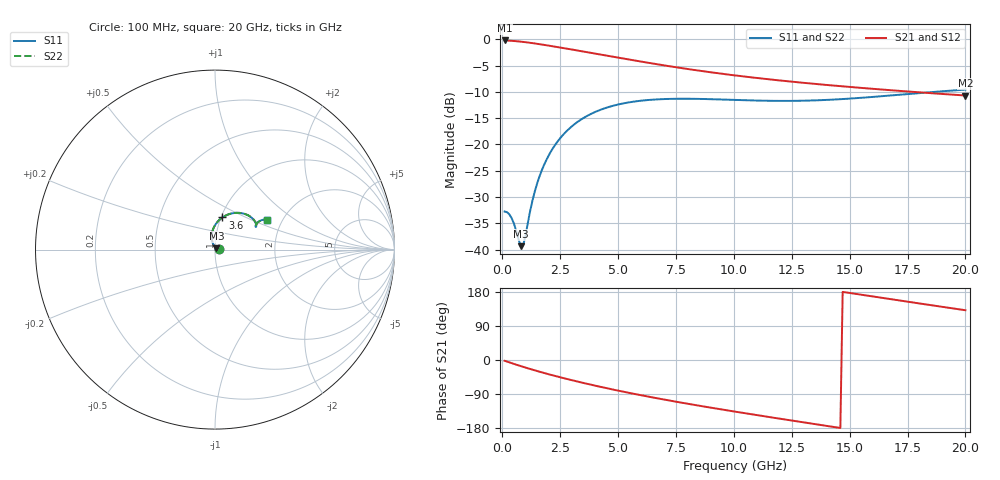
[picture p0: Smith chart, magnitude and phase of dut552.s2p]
! Touchstone file exported from HFSS 2024.1.0
!  File:  C:/UserFiles/LocalFiles/RDL_TSV_Batchsim/temp_RDL_TSV_552_1779749884.aedt
!  Generated:  07:12:33 AM May 26, 2026
!  Design:  RDL_TSV
!  Project:  temp_RDL_TSV_552_1779749884
!  Setup:  Setup1
!  Solution:  Sweep
! Variables:
!  dtsv = 13.74um
!  hbump = 3um
!  htsv = 72.06um
!  ldown = 426.08um
!  lrdl = 482.04um
!  p = 40
!  p1 = 50.63um
!  rhole = 10um
!  subl = 3206.4um
!  t = 450um
!  tdown = 2.13um
!  trdl = 3.5um
!  viad = 10um
!  wdown = 14.12um
!  wrdl = 23.55um
!  xbump = 18um
# GHz S MA R 50.000000
! Terminal data exported
! Port[1] = TM1_1_T1
! Port[2] = TM1_4_T1
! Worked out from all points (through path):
!   200 points, 100 MHz to 20 GHz, reference 50 ohm
!   highest |S21| = -0.21 dB at 100 MHz (marker M1); lowest = -10.7 dB at 20 GHz (marker M2)
!   group delay of S21, straight-line fit = 29.9 ps
!   lowest |S11| = -39.4 dB at 800 MHz (marker M3), VSWR 1.02, Z = 50.8 + j0.702 ohm
!   |S11| at or under -10 dB: start of sweep to 18.64 GHz
!   |S22| runs from -39.4 to -9.6 dB; largest |S21 - S12| = 2.1e-14
!   S11 on the Smith chart (normalised r, x): 100 MHz: 1.05, +0.00; 3.6 GHz: 1.02, +0.38; 20 GHz: 1.66, +0.62
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0.1  0.023 1.4  0.9763 -2.1  0.9763 -2.1  0.023 1.4
! Gamma 0 0 0 0
! Port Impedance 50 0 50 0
0.3  0.02169 2.2  0.9721 -6.2  0.9721 -6.2  0.02168 2.2
0.4  0.01997 3.2  0.9689 -8.3  0.9689 -8.3  0.01997 3.2
0.5  0.0177 5.7  0.9653 -10.3  0.9653 -10.3  0.0177 5.7
0.8  0.01077 39.9  0.9515 -16.2  0.9515 -16.2  0.01076 40.0
0.9  0.01092 64.4  0.9461 -18.1  0.9461 -18.1  0.01093 64.5
1  0.01346 85.0  0.9403 -20.0  0.9403 -20.0  0.01348 85.1
1.3  0.02906 107.5  0.9214 -25.5  0.9214 -25.5  0.02909 107.5
1.5  0.04221 109.2  0.9078 -29.1  0.9078 -29.1  0.04226 109.2
1.9  0.0709 105.3  0.8794 -35.9  0.8794 -35.9  0.07098 105.4
2.2  0.093 100.5  0.8578 -40.8  0.8578 -40.8  0.09309 100.5
2.6  0.1217 93.5  0.8291 -47.1  0.8291 -47.1  0.1218 93.5
3.5  0.1782 78.5  0.7663 -60.5  0.7663 -60.5  0.1784 78.6
3.6  0.1836 77.0  0.7596 -62.0  0.7596 -62.0  0.1838 77.0
5  0.2399 58.7  0.6703 -80.8  0.6703 -80.8  0.2402 58.7
6.8  0.2693 42.6  0.5741 -102.3  0.5741 -102.3  0.2697 42.6
8.4  0.2716 34.1  0.5073 -119.6  0.5073 -119.6  0.2721 34.0
10.1  0.265 29.7  0.4525 -136.7  0.4525 -136.7  0.2655 29.7
11.7  0.2599 29.1  0.4125 -152.2  0.4125 -152.2  0.2604 29.0
13.4  0.2621 30.4  0.3787 -168.2  0.3787 -168.2  0.2625 30.3
16.7  0.2916 32.7  0.3291 161.2  0.3291 161.2  0.2917 32.5
20  0.3324 30.2  0.2922 131.3  0.2922 131.3  0.3322 30.1
